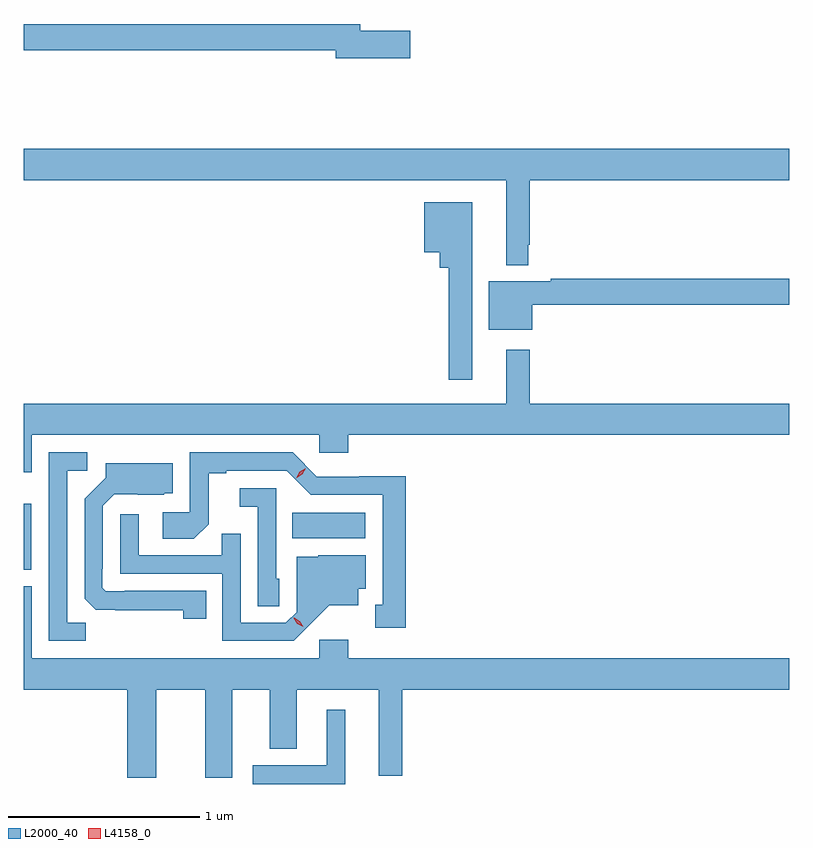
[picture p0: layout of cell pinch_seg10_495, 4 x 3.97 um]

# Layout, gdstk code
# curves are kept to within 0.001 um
import gdstk
lib = gdstk.Library(unit=1e-6, precision=1e-09)
def R(c, l, rs):  # rectangles x0, y0, x1, y1
    for r in rs: c.add(gdstk.rectangle(r[:2], r[2:], *l))
def P(c, l, *ps):  # polygons
    for p in ps: c.add(gdstk.Polygon(p, *l))
L2000_40 = (2000, 40)
L4158_0 = (4158, 0)

pinch_seg10_495 = lib.new_cell('pinch_seg10_495')
R(pinch_seg10_495, L2000_40, [(232.534,1258.319,232.573,1258.663), (233.938,1258.484,234.319,1258.618)])
P(pinch_seg10_495, L2000_40, [(234.553,1261.136),(234.292,1261.136),(234.292,1261.172),(232.534,1261.172),(232.534,1261.036),(234.164,1261.036),(234.164,1260.994),(234.553,1260.994)],
  [(235.17,1260.019),(235.177,1260.019),(235.177,1260.356),(236.534,1260.356),(236.534,1260.52),(232.534,1260.52),(232.534,1260.356),(235.055,1260.356),(235.055,1259.912),(235.17,1259.912)],
  [(234.877,1260.241),(234.626,1260.241),(234.626,1259.978),(234.707,1259.978),(234.707,1259.897),(234.756,1259.897),(234.756,1259.313),(234.877,1259.313)],
  [(235.192,1259.704),(236.534,1259.704),(236.534,1259.84),(235.288,1259.84),(235.288,1259.827),(234.965,1259.827),(234.965,1259.573),(235.192,1259.573)],
  [(232.576,1259.024),(234.078,1259.024),(234.078,1258.931),(234.23,1258.931),(234.23,1259.024),(236.534,1259.024),(236.534,1259.188),(235.177,1259.188),(235.177,1259.47),(235.055,1259.47),(235.055,1259.188),(232.534,1259.188),(232.534,1258.83),(232.576,1258.83)],
  [(234.529,1258.808),(234.288,1258.808),(234.288,1258.806),(234.066,1258.806),(233.94,1258.932),(233.4,1258.932),(233.4,1258.62),(233.259,1258.62),(233.259,1258.48),(233.423,1258.48),(233.499,1258.556),(233.499,1258.824),(233.593,1258.824),(233.593,1258.836),(233.907,1258.836),(234.033,1258.71),(234.41,1258.71),(234.41,1258.137),(234.371,1258.137),(234.371,1258.017),(234.529,1258.017)],
  [(232.857,1258.043),(232.761,1258.043),(232.761,1258.836),(232.864,1258.836),(232.864,1258.932),(232.665,1258.932),(232.665,1257.948),(232.857,1257.948)],
  [(233.486,1258.209),(233.062,1258.209),(233.062,1258.206),(232.962,1258.206),(232.944,1258.224),(232.944,1258.324),(232.947,1258.324),(232.947,1258.653),(233.007,1258.713),(233.264,1258.712),(233.27,1258.718),(233.311,1258.718),(233.311,1258.876),(232.961,1258.876),(232.961,1258.8),(232.851,1258.69),(232.851,1258.168),(232.91,1258.109),(233.368,1258.108),(233.368,1258.062),(233.486,1258.062)],
  [(233.868,1258.272),(233.853,1258.272),(233.853,1258.746),(233.661,1258.746),(233.661,1258.649),(233.757,1258.649),(233.757,1258.129),(233.868,1258.129)],
  [(234.001,1258.005),(234.131,1258.133),(234.283,1258.133),(234.283,1258.22),(234.322,1258.22),(234.322,1258.396),(234.072,1258.396),(234.072,1258.387),(233.961,1258.387),(233.961,1258.098),(233.904,1258.041),(233.667,1258.041),(233.667,1258.508),(233.569,1258.508),(233.569,1258.395),(233.133,1258.395),(233.133,1258.609),(233.037,1258.609),(233.037,1258.299),(233.571,1258.299),(233.571,1257.948),(233.944,1257.948)],
  [(233.227,1257.692),(233.483,1257.692),(233.483,1257.231),(233.623,1257.231),(233.623,1257.692),(233.819,1257.692),(233.819,1257.383),(233.959,1257.383),(233.959,1257.692),(234.389,1257.692),(234.389,1257.243),(234.511,1257.243),(234.511,1257.692),(236.534,1257.692),(236.534,1257.856),(234.23,1257.856),(234.23,1257.952),(234.078,1257.952),(234.078,1257.856),(232.576,1257.856),(232.576,1258.234),(232.534,1258.234),(232.534,1257.692),(233.075,1257.692),(233.075,1257.231),(233.227,1257.231)],
  [(234.214,1257.586),(234.116,1257.586),(234.116,1257.298),(233.731,1257.298),(233.731,1257.199),(234.214,1257.199)])
P(pinch_seg10_495, L4158_0, [(233.958,1258.798),(233.958,1258.798),(233.976,1258.831),(234.008,1258.849),(234.008,1258.849),(234.008,1258.849),(233.99,1258.817),(233.958,1258.798)],
  [(233.993,1258.02),(233.963,1258.036),(233.945,1258.066),(233.945,1258.067),(233.946,1258.067),(233.976,1258.051),(233.994,1258.021),(233.994,1258.02)])

lib.write_gds('pinch_seg10_495.gds')
